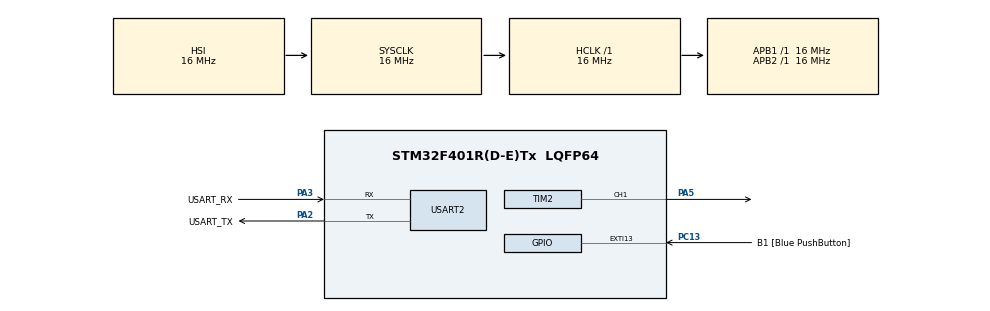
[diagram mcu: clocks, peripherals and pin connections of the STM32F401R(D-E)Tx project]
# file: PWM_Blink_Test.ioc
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Mcu.Family=STM32F4
Mcu.Name=STM32F401R(D-E)Tx
Mcu.Package=LQFP64
NVIC.PriorityGroup=NVIC_PRIORITYGROUP_4
PA13.GPIO_Label=TMS
PA13.Mode=Trace_Asynchronous_SW
PA13.Signal=SYS_JTMS-SWDIO
PA14.GPIO_Label=TCK
PA14.Mode=Trace_Asynchronous_SW
PA14.Signal=SYS_JTCK-SWCLK
PA2.GPIO_Label=USART_TX
PA2.GPIO_Mode=GPIO_MODE_AF_PP
PA2.GPIO_PuPd=GPIO_NOPULL
PA2.GPIO_Speed=GPIO_SPEED_FREQ_LOW
PA2.Mode=Asynchronous
PA2.Signal=USART2_TX
PA3.GPIO_Label=USART_RX
PA3.GPIO_Mode=GPIO_MODE_AF_PP
PA3.GPIO_PuPd=GPIO_NOPULL
PA3.GPIO_Speed=GPIO_SPEED_FREQ_LOW
PA3.Mode=Asynchronous
PA3.Signal=USART2_RX
PA5.Signal=S_TIM2_CH1_ETR
PB3.GPIO_Label=SWO
PB3.Mode=Trace_Asynchronous_SW
PB3.Signal=SYS_JTDO-SWO
PC13-ANTI_TAMP.GPIO_Label=B1 [Blue PushButton]
PC13-ANTI_TAMP.GPIO_ModeDefaultEXTI=GPIO_MODE_IT_FALLING
PC13-ANTI_TAMP.GPIO_PuPd=GPIO_NOPULL
PC13-ANTI_TAMP.Signal=GPXTI13
PC14-OSC32_IN.Mode=LSE-External-Oscillator
PC14-OSC32_IN.Signal=RCC_OSC32_IN
PC15-OSC32_OUT.Mode=LSE-External-Oscillator
PC15-OSC32_OUT.Signal=RCC_OSC32_OUT
PH0\ -\ OSC_IN.Mode=HSE-External-Clock-Source
PH0\ -\ OSC_IN.Signal=RCC_OSC_IN
PH1\ -\ OSC_OUT.Mode=HSE-External-Clock-Source
PH1\ -\ OSC_OUT.Signal=RCC_OSC_OUT
ProjectManager.HeapSize=0x200
ProjectManager.StackSize=0x400
ProjectManager.TargetToolchain=STM32CubeIDE
RCC.48MHZClocksFreq_Value=48000000
RCC.AHBFreq_Value=16000000
RCC.APB1Freq_Value=16000000
RCC.APB1TimFreq_Value=16000000
RCC.APB2Freq_Value=16000000
RCC.APB2TimFreq_Value=16000000
RCC.CortexFreq_Value=16000000
RCC.HCLKFreq_Value=16000000
RCC.HSE_VALUE=8000000
RCC.HSI_VALUE=16000000
RCC.PLLN=336
RCC.PLLP=RCC_PLLP_DIV4
RCC.PLLQ=7
RCC.SYSCLKFreq_VALUE=16000000
RCC.VCOOutputFreq_Value=336000000
SH.S_TIM2_CH1_ETR.0=TIM2_CH1,PWM Generation1 CH1
TIM2.AutoReloadPreload=TIM_AUTORELOAD_PRELOAD_ENABLE
TIM2.Channel-PWM\ Generation1\ CH1=TIM_CHANNEL_1
TIM2.Period=500-1
TIM2.Prescaler=16000-1
USART2.VirtualMode=VM_ASYNC
VP_TIM2_VS_ClockSourceINT.Mode=Internal
board=NUCLEO-F401RE

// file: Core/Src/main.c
/* USER CODE BEGIN Header */
/**
  ******************************************************************************
  * @file           : main.c
  * @brief          : Main program body
  ******************************************************************************
  * @attention
  *
  * Copyright (c) 2025 STMicroelectronics.
  * All rights reserved.
  *
  * This software is licensed under terms that can be found in the LICENSE file
  * in the root directory of this software component.
  * If no LICENSE file comes with this software, it is provided AS-IS.
  *
  ******************************************************************************
  */
/* USER CODE END Header */
#include "main.h"

/* USER CODE BEGIN Includes */
#include <string.h>
#include <stdio.h>
/* USER CODE END Includes */

TIM_HandleTypeDef htim2;

UART_HandleTypeDef huart2;

void SystemClock_Config(void);
static void MX_GPIO_Init(void);
static void MX_USART2_UART_Init(void);
static void MX_TIM2_Init(void);

int main(void)
{

  /* MCU Configuration--------------------------------------------------------*/

  /* Reset of all peripherals, Initializes the Flash interface and the Systick. */
  HAL_Init();

  /* Configure the system clock */
  SystemClock_Config();

  /* Initialize all configured peripherals */
  MX_GPIO_Init();
  MX_USART2_UART_Init();
  MX_TIM2_Init();
  /* USER CODE BEGIN 2 */
  HAL_TIM_PWM_Start(&htim2, TIM_CHANNEL_1);
  TIM2->PSC = 0;
  TIM2->ARR = 60000;
  TIM2->CCR1 = 0;
  int TIM2_Ch1_DCVAL = 0;

  /* USER CODE END 2 */

  /* Infinite loop */
  /* USER CODE BEGIN WHILE */
  while (1)
  {
	 while(TIM2_Ch1_DCVAL < 60000) {
		 TIM2_Ch1_DCVAL += (50);
		 TIM2->CCR1 = TIM2_Ch1_DCVAL;
		 HAL_Delay(1);
	 }
	 while(TIM2_Ch1_DCVAL > 0) {
			 TIM2_Ch1_DCVAL -= (50);
			 TIM2->CCR1 = TIM2_Ch1_DCVAL;
			 HAL_Delay(1);
	}
    /* USER CODE END WHILE */

  }
}

void SystemClock_Config(void)
{
  RCC_OscInitTypeDef RCC_OscInitStruct = {0};
  RCC_ClkInitTypeDef RCC_ClkInitStruct = {0};

  /** Configure the main internal regulator output voltage
  */
  __HAL_RCC_PWR_CLK_ENABLE();
  __HAL_PWR_VOLTAGESCALING_CONFIG(PWR_REGULATOR_VOLTAGE_SCALE2);

  /** Initializes the RCC Oscillators according to the specified parameters
  * in the RCC_OscInitTypeDef structure.
  */
  RCC_OscInitStruct.OscillatorType = RCC_OSCILLATORTYPE_HSI;
  RCC_OscInitStruct.HSIState = RCC_HSI_ON;
  RCC_OscInitStruct.HSICalibrationValue = RCC_HSICALIBRATION_DEFAULT;
  RCC_OscInitStruct.PLL.PLLState = RCC_PLL_NONE;
  if (HAL_RCC_OscConfig(&RCC_OscInitStruct) != HAL_OK)
  {
    Error_Handler();
  }

  /** Initializes the CPU, AHB and APB buses clocks
  */
  RCC_ClkInitStruct.ClockType = RCC_CLOCKTYPE_HCLK|RCC_CLOCKTYPE_SYSCLK
                              |RCC_CLOCKTYPE_PCLK1|RCC_CLOCKTYPE_PCLK2;
  RCC_ClkInitStruct.SYSCLKSource = RCC_SYSCLKSOURCE_HSI;
  RCC_ClkInitStruct.AHBCLKDivider = RCC_SYSCLK_DIV1;
  RCC_ClkInitStruct.APB1CLKDivider = RCC_HCLK_DIV1;
  RCC_ClkInitStruct.APB2CLKDivider = RCC_HCLK_DIV1;

  if (HAL_RCC_ClockConfig(&RCC_ClkInitStruct, FLASH_LATENCY_0) != HAL_OK)
  {
    Error_Handler();
  }
}

static void MX_TIM2_Init(void)
{

  TIM_ClockConfigTypeDef sClockSourceConfig = {0};
  TIM_MasterConfigTypeDef sMasterConfig = {0};
  TIM_OC_InitTypeDef sConfigOC = {0};

  htim2.Instance = TIM2;
  htim2.Init.Prescaler = 16000-1;
  htim2.Init.CounterMode = TIM_COUNTERMODE_UP;
  htim2.Init.Period = 500-1;
  htim2.Init.ClockDivision = TIM_CLOCKDIVISION_DIV1;
  htim2.Init.AutoReloadPreload = TIM_AUTORELOAD_PRELOAD_ENABLE;
  if (HAL_TIM_Base_Init(&htim2) != HAL_OK)
  {
    Error_Handler();
  }
  sClockSourceConfig.ClockSource = TIM_CLOCKSOURCE_INTERNAL;
  if (HAL_TIM_ConfigClockSource(&htim2, &sClockSourceConfig) != HAL_OK)
  {
    Error_Handler();
  }
  if (HAL_TIM_PWM_Init(&htim2) != HAL_OK)
  {
    Error_Handler();
  }
  sMasterConfig.MasterOutputTrigger = TIM_TRGO_RESET;
  sMasterConfig.MasterSlaveMode = TIM_MASTERSLAVEMODE_DISABLE;
  if (HAL_TIMEx_MasterConfigSynchronization(&htim2, &sMasterConfig) != HAL_OK)
  {
    Error_Handler();
  }
  sConfigOC.OCMode = TIM_OCMODE_PWM1;
  sConfigOC.Pulse = 0;
  sConfigOC.OCPolarity = TIM_OCPOLARITY_HIGH;
  sConfigOC.OCFastMode = TIM_OCFAST_DISABLE;
  if (HAL_TIM_PWM_ConfigChannel(&htim2, &sConfigOC, TIM_CHANNEL_1) != HAL_OK)
  {
    Error_Handler();
  }
  HAL_TIM_MspPostInit(&htim2);

}

static void MX_USART2_UART_Init(void)
{

  huart2.Instance = USART2;
  huart2.Init.BaudRate = 115200;
  huart2.Init.WordLength = UART_WORDLENGTH_8B;
  huart2.Init.StopBits = UART_STOPBITS_1;
  huart2.Init.Parity = UART_PARITY_NONE;
  huart2.Init.Mode = UART_MODE_TX_RX;
  huart2.Init.HwFlowCtl = UART_HWCONTROL_NONE;
  huart2.Init.OverSampling = UART_OVERSAMPLING_16;
  if (HAL_UART_Init(&huart2) != HAL_OK)
  {
    Error_Handler();
  }

}

static void MX_GPIO_Init(void)
{
  GPIO_InitTypeDef GPIO_InitStruct = {0};

  /* GPIO Ports Clock Enable */
  __HAL_RCC_GPIOC_CLK_ENABLE();
  __HAL_RCC_GPIOH_CLK_ENABLE();
  __HAL_RCC_GPIOA_CLK_ENABLE();
  __HAL_RCC_GPIOB_CLK_ENABLE();

  /*Configure GPIO pin : B1_Pin */
  GPIO_InitStruct.Pin = B1_Pin;
  GPIO_InitStruct.Mode = GPIO_MODE_IT_FALLING;
  GPIO_InitStruct.Pull = GPIO_NOPULL;
  HAL_GPIO_Init(B1_GPIO_Port, &GPIO_InitStruct);

}

void Error_Handler(void)
{
  __disable_irq();
  while (1)
  {
  }
}
